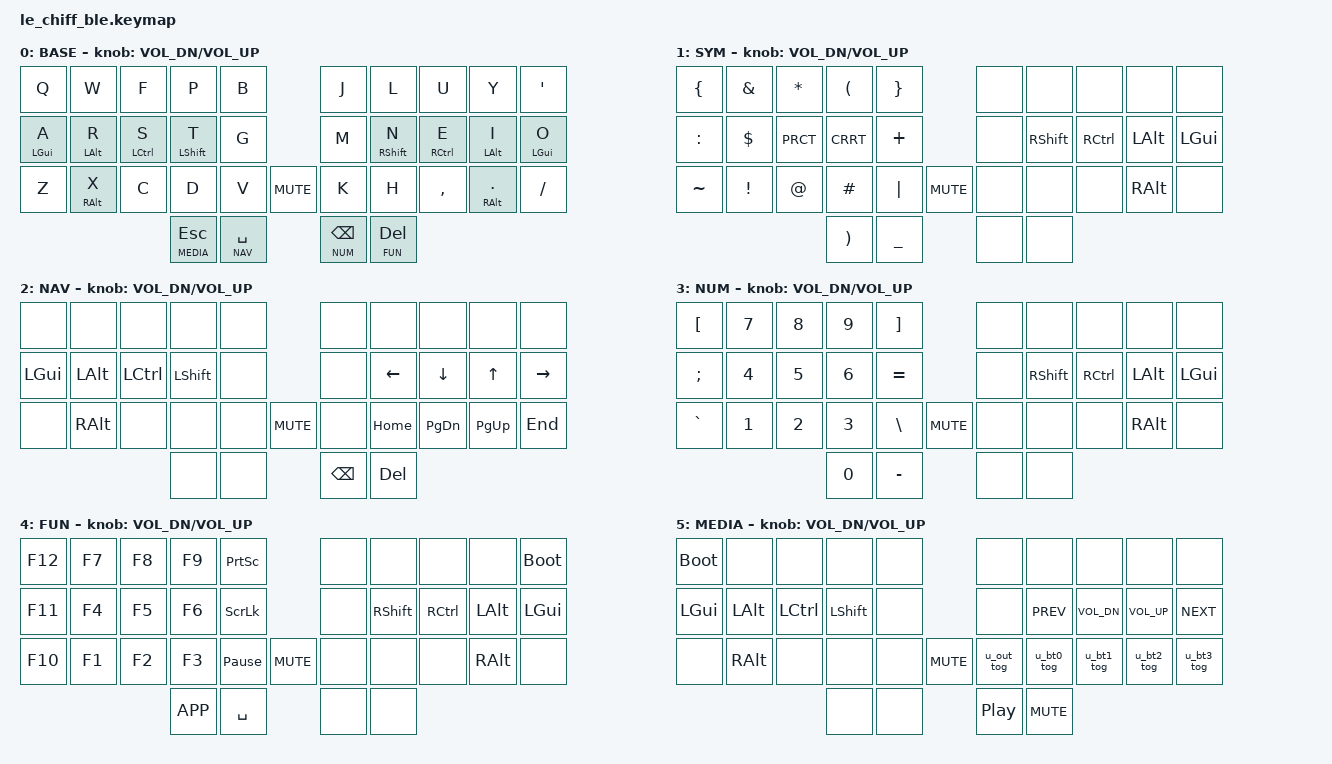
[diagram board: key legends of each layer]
/*
 * Copyright (c) 2021 @MangoIV
 *
 * SPDX-License-Identifier: MIT
 */

#include <behaviors.dtsi>
#include <dt-bindings/zmk/bt.h>
#include <dt-bindings/zmk/ext_power.h>
#include <dt-bindings/zmk/keys.h>
#include <dt-bindings/zmk/outputs.h>
#include <dt-bindings/zmk/rgb.h>

#define BASE  0
#define SYM   1
#define NAV   2
#define NUM   3
#define FUN   4
#define MEDIA 5

&lt {
    quick_tap_ms = <200>;
};

&caps_word {
    continue-list = <UNDERSCORE MINUS>;
};

&sl {
    release-after-ms = <2000>;
};

/ {

    combos {
        compatible = "zmk,combos";
        combo_esc {
            timeout-ms = <50>;
            key-positions = <0 1>;
            bindings = <&lt MEDIA ESC>;
        };
        combo_space {
            timeout-ms = <50>;
            key-positions = <1 2>;
            bindings = <&lt NAV SPACE>;
        };
        combo_tab {
            timeout-ms = <50>;
            key-positions = <2 3>;
            bindings = <&kp TAB>;
        };
        compo_return {
            timeout-ms = <50>;
            key-positions = <6 7>;
            bindings = <&lt SYM RET>;
        };
        combo_backspace {
            timeout-ms = <50>;
            key-positions = <7 8>;
            bindings = <&lt NUM BSPC>;
        };
        combo_delete {
            timeout-ms = <50>;
            key-positions = <8 9>;
            bindings = <&lt FUN DEL>;
        };
        combo_sl_media {
            timeout-ms = <50>;
            key-positions = <29 30>;
            bindings = <&sl MEDIA>;
        };
        combo_sl_nav {
            timeout-ms = <50>;
            key-positions = <28 29>;
            bindings = <&sl NAV>;
        };
        combo_sl_sym {
            timeout-ms = <50>;
            key-positions = <22 23>;
            bindings = <&sl SYM>;
        };
        combo_sl_num {
            timeout-ms = <50>;
            key-positions = <21 22>;
            bindings = <&sl NUM>;
        };
        combo_sl_fun {
            timeout-ms = <50>;
            key-positions = <20 21>;
            bindings = <&sl FUN>;
        };
        combo_capsWord {
            timeout-ms = <50>;
            key-positions = <22 28>;
            bindings = <&caps_word>;
        };
    };

    macros {
        u_bt0_clr: u_bt0_clr {
            label = "U_BT0_CLR";
            compatible = "zmk,behavior-macro";
            #binding-cells = <0>;
            bindings = <&macro_tap &bt BT_SEL 0 &bt BT_CLR>;
        };

        u_bt1_clr: u_bt1_clr {
            label = "U_BT1_CLR";
            compatible = "zmk,behavior-macro";
            #binding-cells = <0>;
            bindings = <&macro_tap &bt BT_SEL 1 &bt BT_CLR>;
        };

        u_bt2_clr: u_bt2_clr {
            label = "U_BT2_CLR";
            compatible = "zmk,behavior-macro";
            #binding-cells = <0>;
            bindings = <&macro_tap &bt BT_SEL 2 &bt BT_CLR>;
        };

        u_bt3_clr: u_bt3_clr {
            label = "U_BT3_CLR";
            compatible = "zmk,behavior-macro";
            #binding-cells = <0>;
            bindings = <&macro_tap &bt BT_SEL 3 &bt BT_CLR>;
        };
    };

    behaviors {
        hm: home-row-mods {
            compatible = "zmk,behavior-hold-tap";
            label = "HOME_ROW_MODS";
            #binding-cells = <2>;
            flavor = "tap-preferred";
            tapping-term-ms = <175>;
            quick-tap-ms = <125>;
            global-quick-tap;
            bindings = <&kp>, <&kp>;
        };

        hs: home-row-shift {
            compatible = "zmk,behavior-hold-tap";
            label = "HOME_ROW_SHIFT";
            #binding-cells = <2>;
            flavor = "balanced";
            tapping-term-ms = <175>;
            // quick-tap-ms = <125>;
            // global-quick-tap;
            bindings = <&kp>, <&kp>;
        };

        u_out_tog: u_out_tog {
            compatible = "zmk,behavior-mod-morph";
            label = "U_OUT_TOG";
            #binding-cells = <0>;
            bindings = <&out OUT_TOG>, <&out OUT_BLE>;
            mods = <(MOD_LSFT|MOD_RSFT)>;
        };

        u_bt0_tog: u_bt0_tog {
            compatible = "zmk,behavior-mod-morph";
            label = "U_BT0_TOG";
            #binding-cells = <0>;
            bindings = <&bt BT_SEL 0>, <&u_bt0_clr>;
            mods = <(MOD_LSFT|MOD_RSFT)>;
        };

        u_bt1_tog: u_bt1_tog {
            compatible = "zmk,behavior-mod-morph";
            label = "U_BT1_TOG";
            #binding-cells = <0>;
            bindings = <&bt BT_SEL 1>, <&u_bt1_clr>;
            mods = <(MOD_LSFT|MOD_RSFT)>;
        };

        u_bt2_tog: u_bt2_tog {
            compatible = "zmk,behavior-mod-morph";
            label = "U_BT2_TOG";
            #binding-cells = <0>;
            bindings = <&bt BT_SEL 2>, <&u_bt2_clr>;
            mods = <(MOD_LSFT|MOD_RSFT)>;
        };

        u_bt3_tog: u_bt3_tog {
            compatible = "zmk,behavior-mod-morph";
            label = "U_BT3_TOG";
            #binding-cells = <0>;
            bindings = <&bt BT_SEL 3>, <&u_bt3_clr>;
            mods = <(MOD_LSFT|MOD_RSFT)>;
        };
   };


    keymap {
        compatible = "zmk,keymap";
        
        base_layer {
            label= "BASE";
            bindings = <
                &kp Q         &kp W         &kp F         &kp P         &kp B                       &kp J         &kp L         &kp U         &kp Y         &kp QUOT
                &hm LGUI A    &hm LALT R    &hm LCTRL S   &hs LSHFT T   &kp G                       &kp M         &hs RSHFT N   &hm RCTRL E   &hm LALT I    &hm LGUI O
                &kp Z         &hm RALT X    &kp C         &kp D         &kp V         &kp C_MUTE    &kp K         &kp H         &kp COMMA     &hm RALT DOT  &kp SLASH
                                                          &lt MEDIA ESC &lt NAV SPACE               &lt NUM BSPC  &lt FUN DEL
            >;
            sensor-bindings = <&inc_dec_kp C_VOL_DN C_VOL_UP>;
        };

        sym_layer {
            label= "SYM";
            bindings = <
                &kp LBRC      &kp AMPS      &kp ASTRK     &kp LPAR      &kp RBRC                    &none         &none         &none         &none         &none
                &kp COLON     &kp DLLR      &kp PRCT      &kp CRRT      &kp PLUS                    &none         &kp RSHFT     &kp RCTRL     &kp LALT      &kp LGUI
                &kp TILDE     &kp EXCL      &kp AT        &kp HASH      &kp PIPE      &kp C_MUTE    &none         &none         &none         &kp RALT      &none
                                                          &kp RPAR      &kp UNDER                   &none         &none
             >;
             sensor-bindings = <&inc_dec_kp C_VOL_DN C_VOL_UP>;
        };

        nav_layer {
            label= "NAV";
            bindings = <
                &none         &none         &none         &none         &none                       &none         &none         &none         &none         &none
                &kp LGUI      &kp LALT      &kp LCTRL     &kp LSHFT     &none                       &none         &kp LEFT      &kp DOWN      &kp UP        &kp RIGHT
                &none         &kp RALT      &none         &none         &none         &kp C_MUTE    &none         &kp HOME      &kp PG_DN     &kp PG_UP     &kp END
                                                          &none         &none                       &kp BSPC      &kp DEL
            >;
            sensor-bindings = <&inc_dec_kp C_VOL_DN C_VOL_UP>;
        };

        num_layer {
            label= "NUM";
            bindings = <
                &kp LBKT      &kp N7        &kp N8        &kp N9        &kp RBKT                    &none         &none         &none         &none         &none
                &kp SEMI      &kp N4        &kp N5        &kp N6        &kp EQUAL                   &none         &kp RSHFT     &kp RCTRL     &kp LALT      &kp LGUI
                &kp GRAVE     &kp N1        &kp N2        &kp N3        &kp BSLH      &kp C_MUTE    &none         &none         &none         &kp RALT      &none
                                                          &kp N0        &kp MINUS                   &none         &none
            >;
            sensor-bindings = <&inc_dec_kp C_VOL_DN C_VOL_UP>;
        };

        fun_layer {
            label= "FUN";
            bindings = <
                &kp F12       &kp F7        &kp F8        &kp F9        &kp PSCRN                   &none         &none         &none         &none         &bootloader
                &kp F11       &kp F4        &kp F5        &kp F6        &kp SLCK                    &none         &kp RSHFT     &kp RCTRL     &kp LALT      &kp LGUI
                &kp F10       &kp F1        &kp F2        &kp F3        &kp PAUSE_BREAK &kp C_MUTE  &none         &none         &none         &kp RALT      &none
                                                          &kp K_APP     &kp SPACE                   &none         &none
            >;
            sensor-bindings = <&inc_dec_kp C_VOL_DN C_VOL_UP>;
        };

        media_layer {
            label= "MEDIA";
            bindings = <
                &bootloader    &none        &none         &none         &none                       &none         &none         &none         &none         &none
                &kp LGUI       &kp LALT     &kp LCTRL     &kp LSHFT     &none                       &none         &kp C_PREV    &kp C_VOL_DN  &kp C_VOL_UP  &kp C_NEXT
                &none          &kp RALT     &none         &none         &none         &kp C_MUTE    &u_out_tog    &u_bt0_tog    &u_bt1_tog    &u_bt2_tog    &u_bt3_tog
                                                          &none         &none                       &kp C_PP      &kp C_MUTE
            >;
            sensor-bindings = <&inc_dec_kp C_VOL_DN C_VOL_UP>;
        };
    };

};
